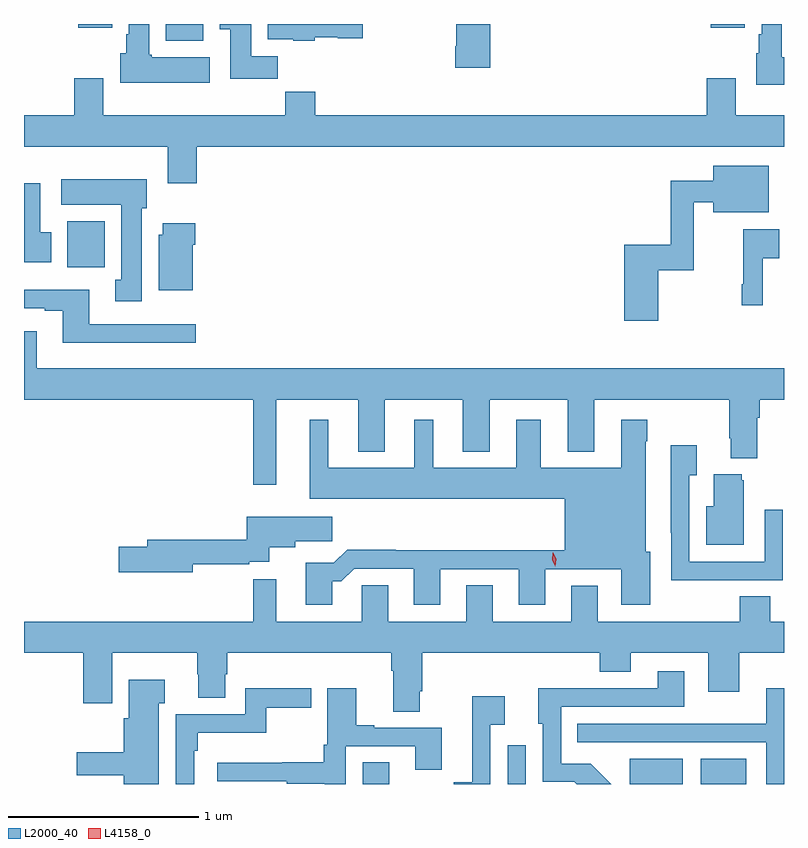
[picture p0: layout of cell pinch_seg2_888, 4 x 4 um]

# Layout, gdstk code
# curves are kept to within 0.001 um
import gdstk
lib = gdstk.Library(unit=1e-6, precision=1e-09)
def R(c, l, rs):  # rectangles x0, y0, x1, y1
    for r in rs: c.add(gdstk.rectangle(r[:2], r[2:], *l))
def P(c, l, *ps):  # polygons
    for p in ps: c.add(gdstk.Polygon(p, *l))
L2000_40 = (2000, 40)
L4158_0 = (4158, 0)

pinch_seg2_888 = lib.new_cell('pinch_seg2_888')
R(pinch_seg2_888, L2000_40, [(448.559,648.277,448.699,648.392), (449.322,648.277,449.418,648.481), (449.966,648.277,450.244,648.409), (450.338,648.277,450.577,648.409), (447.005,650.996,447.202,651.238), (447.524,652.19,447.721,652.277), (447.062,652.256,447.241,652.277), (450.392,652.256,450.571,652.277)])
P(pinch_seg2_888, L2000_40, [(448.112,652.108),(447.973,652.108),(447.973,652.277),(447.806,652.277),(447.806,652.249),(447.863,652.249),(447.863,651.99),(448.112,651.99)],
  [(448.308,652.208),(448.428,652.208),(448.428,652.201),(448.561,652.201),(448.561,652.277),(448.061,652.277),(448.061,652.196),(448.194,652.196),(448.194,652.19),(448.308,652.19)],
  [(447.754,652.102),(447.45,652.102),(447.45,652.116),(447.436,652.116),(447.436,652.277),(447.329,652.277),(447.329,652.222),(447.314,652.222),(447.314,652.122),(447.284,652.122),(447.284,651.968),(447.754,651.968)],
  [(450.777,652.102),(450.766,652.102),(450.766,652.277),(450.659,652.277),(450.659,652.222),(450.644,652.222),(450.644,652.122),(450.632,652.122),(450.632,651.956),(450.777,651.956)],
  [(449.231,652.277),(449.053,652.277),(449.053,652.159),(449.048,652.159),(449.048,652.047),(449.231,652.047)],
  [(447.193,651.991),(447.041,651.991),(447.041,651.796),(446.777,651.796),(446.777,651.632),(447.533,651.632),(447.533,651.438),(447.686,651.438),(447.686,651.632),(450.777,651.632),(450.777,651.796),(450.523,651.796),(450.523,651.991),(450.371,651.991),(450.371,651.796),(448.31,651.796),(448.31,651.92),(448.153,651.92),(448.153,651.796),(447.193,651.796)],
  [(450.114,650.98),(450.302,650.98),(450.302,651.338),(450.404,651.338),(450.404,651.287),(450.697,651.287),(450.697,651.532),(450.404,651.532),(450.404,651.452),(450.181,651.452),(450.181,651.116),(449.936,651.116),(449.936,650.715),(450.114,650.715)],
  [(447.397,651.306),(447.424,651.306),(447.424,651.46),(446.973,651.46),(446.973,651.326),(447.29,651.326),(447.29,650.93),(447.257,650.93),(447.257,650.817),(447.397,650.817)],
  [(446.92,651.18),(446.863,651.18),(446.863,651.439),(446.777,651.439),(446.777,651.024),(446.92,651.024)],
  [(447.664,651.116),(447.677,651.116),(447.677,651.229),(447.506,651.229),(447.506,651.168),(447.485,651.168),(447.485,650.876),(447.664,650.876)],
  [(450.665,651.044),(450.751,651.044),(450.751,651.196),(450.562,651.196),(450.562,650.908),(450.555,650.908),(450.555,650.796),(450.665,650.796)],
  [(447.682,650.697),(447.121,650.697),(447.121,650.878),(446.777,650.878),(446.777,650.781),(446.885,650.781),(446.885,650.769),(446.981,650.769),(446.981,650.6),(447.682,650.6)],
  [(448.105,650.3),(448.535,650.3),(448.535,650.027),(448.675,650.027),(448.675,650.3),(449.087,650.3),(449.087,650.027),(449.227,650.027),(449.227,650.3),(449.639,650.3),(449.639,650.027),(449.779,650.027),(449.779,650.3),(450.49,650.3),(450.49,650.098),(450.497,650.098),(450.497,649.991),(450.637,649.991),(450.637,650.204),(450.65,650.204),(450.65,650.3),(450.777,650.3),(450.777,650.464),(446.845,650.464),(446.845,650.659),(446.777,650.659),(446.777,650.3),(447.984,650.3),(447.984,649.851),(448.105,649.851)],
  [(448.399,649.343),(448.448,649.343),(448.515,649.41),(448.829,649.41),(448.829,649.221),(448.969,649.221),(448.969,649.407),(449.381,649.407),(449.381,649.221),(449.521,649.221),(449.521,649.407),(449.921,649.406),(449.921,649.221),(450.073,649.221),(450.073,649.5),(450.049,649.5),(450.049,650.081),(450.057,650.081),(450.057,650.194),(449.921,650.194),(449.921,649.942),(449.497,649.942),(449.497,650.194),(449.369,650.194),(449.369,649.942),(448.93,649.942),(448.93,650.194),(448.832,650.194),(448.832,649.942),(448.378,649.942),(448.378,650.194),(448.28,650.194),(448.28,649.778),(449.624,649.778),(449.624,649.508),(448.733,649.508),(448.733,649.511),(448.478,649.511),(448.408,649.441),(448.259,649.441),(448.259,649.221),(448.399,649.221)],
  [(450.455,649.35),(450.771,649.35),(450.771,649.72),(450.675,649.72),(450.675,649.446),(450.279,649.446),(450.279,649.903),(450.319,649.903),(450.319,650.059),(450.182,650.059),(450.182,649.6),(450.183,649.6),(450.183,649.349),(450.455,649.349)],
  [(450.565,649.875),(450.554,649.875),(450.554,649.906),(450.407,649.906),(450.407,649.738),(450.368,649.738),(450.368,649.535),(450.565,649.535)],
  [(447.664,649.434),(447.962,649.434),(447.962,649.446),(448.067,649.446),(448.067,649.523),(448.204,649.523),(448.204,649.555),(448.399,649.555),(448.399,649.684),(447.949,649.684),(447.949,649.562),(447.425,649.562),(447.425,649.526),(447.276,649.526),(447.276,649.391),(447.664,649.391)],
  [(448.861,648.766),(448.874,648.766),(448.874,648.968),(449.807,648.968),(449.807,648.869),(449.971,648.869),(449.971,648.968),(450.377,648.968),(450.377,648.762),(450.541,648.762),(450.541,648.968),(450.777,648.968),(450.777,649.132),(450.704,649.132),(450.704,649.265),(450.544,649.265),(450.544,649.132),(449.797,649.132),(449.797,649.321),(449.657,649.321),(449.657,649.132),(449.245,649.132),(449.245,649.322),(449.105,649.322),(449.105,649.132),(448.693,649.132),(448.693,649.322),(448.554,649.322),(448.554,649.132),(448.105,649.132),(448.105,649.354),(447.984,649.354),(447.984,649.132),(446.777,649.132),(446.777,648.968),(447.089,648.968),(447.089,648.702),(447.241,648.702),(447.241,648.968),(447.688,648.968),(447.688,648.855),(447.695,648.855),(447.695,648.73),(447.835,648.73),(447.835,648.855),(447.848,648.855),(447.848,648.968),(448.709,648.968),(448.709,648.872),(448.721,648.872),(448.721,648.658),(448.861,648.658)],
  [(449.761,648.384),(449.604,648.384),(449.604,648.684),(450.253,648.684),(450.253,648.871),(450.113,648.871),(450.113,648.78),(449.701,648.78),(449.701,648.782),(449.483,648.782),(449.483,648.594),(449.508,648.594),(449.508,648.288),(449.674,648.288),(449.685,648.277),(449.868,648.277)],
  [(447.487,648.701),(447.517,648.701),(447.517,648.826),(447.329,648.826),(447.329,648.624),(447.302,648.624),(447.302,648.445),(447.054,648.445),(447.054,648.323),(447.302,648.323),(447.302,648.277),(447.487,648.277)],
  [(447.672,648.452),(447.692,648.452),(447.692,648.548),(448.051,648.548),(448.051,648.679),(448.288,648.679),(448.288,648.782),(447.942,648.782),(447.942,648.645),(447.576,648.645),(447.576,648.277),(447.672,648.277)],
  [(450.777,648.781),(450.683,648.781),(450.683,648.595),(450.349,648.595),(450.349,648.594),(449.689,648.594),(449.689,648.498),(450.684,648.498),(450.684,648.277),(450.777,648.277)],
  [(448.47,648.477),(448.835,648.477),(448.835,648.352),(448.975,648.352),(448.975,648.573),(448.621,648.573),(448.621,648.586),(448.525,648.586),(448.525,648.781),(448.374,648.781),(448.374,648.484),(448.354,648.484),(448.354,648.392),(448.135,648.392),(448.135,648.388),(447.795,648.388),(447.795,648.291),(448.159,648.291),(448.159,648.279),(448.359,648.279),(448.359,648.277),(448.47,648.277)],
  [(449.232,648.59),(449.308,648.59),(449.308,648.739),(449.135,648.739),(449.135,648.287),(449.039,648.287),(449.039,648.277),(449.232,648.277)])
P(pinch_seg2_888, L4158_0, [(449.574,649.422),(449.574,649.423),(449.558,649.456),(449.561,649.493),(449.562,649.493),(449.562,649.493),(449.578,649.459),(449.574,649.423)])

lib.write_gds('pinch_seg2_888.gds')
